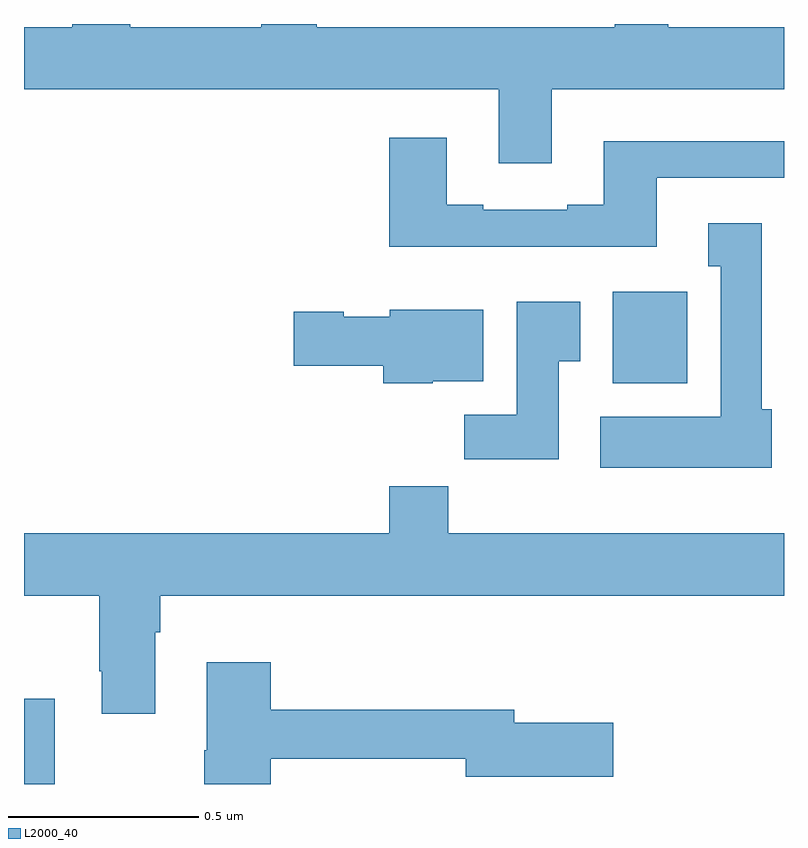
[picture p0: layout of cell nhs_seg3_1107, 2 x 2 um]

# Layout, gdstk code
import gdstk
lib = gdstk.Library(unit=1e-6, precision=1e-09)
def R(c, l, rs):  # rectangles x0, y0, x1, y1
    for r in rs: c.add(gdstk.rectangle(r[:2], r[2:], *l))
def P(c, l, *ps):  # polygons
    for p in ps: c.add(gdstk.Polygon(p, *l))
L2000_40 = (2000, 40)

nhs_seg3_1107 = lib.new_cell('nhs_seg3_1107')
R(nhs_seg3_1107, L2000_40, [(124,720.4,124.081,720.625), (125.549,721.454,125.746,721.696)])
P(nhs_seg3_1107, L2000_40, [(125.389,722.228),(126,722.228),(126,722.392),(125.695,722.392),(125.695,722.4),(125.555,722.4),(125.555,722.392),(124.771,722.392),(124.771,722.4),(124.624,722.4),(124.624,722.392),(124.279,722.392),(124.279,722.4),(124.127,722.4),(124.127,722.392),(124,722.392),(124,722.228),(125.249,722.228),(125.249,722.034),(125.389,722.034)],
  [(125.665,721.995),(126,721.995),(126,722.092),(125.525,722.092),(125.525,721.924),(125.429,721.924),(125.429,721.911),(125.209,721.911),(125.209,721.924),(125.113,721.924),(125.113,722.101),(124.961,722.101),(124.961,721.814),(125.665,721.814)],
  [(125.968,721.386),(125.941,721.386),(125.941,721.876),(125.801,721.876),(125.801,721.763),(125.834,721.763),(125.834,721.366),(125.517,721.366),(125.517,721.232),(125.968,721.232)],
  [(125.407,721.513),(125.464,721.513),(125.464,721.669),(125.297,721.669),(125.297,721.372),(125.158,721.372),(125.158,721.254),(125.407,721.254)],
  [(125.076,721.46),(125.209,721.46),(125.209,721.648),(124.962,721.648),(124.962,721.63),(124.842,721.63),(124.842,721.643),(124.71,721.643),(124.71,721.501),(124.946,721.501),(124.946,721.454),(125.076,721.454)],
  [(124.345,720.8),(124.358,720.8),(124.358,720.896),(126,720.896),(126,721.06),(125.117,721.06),(125.117,721.184),(124.961,721.184),(124.961,721.06),(124,721.06),(124,720.896),(124.198,720.896),(124.198,720.697),(124.205,720.697),(124.205,720.585),(124.345,720.585)],
  [(124.649,720.466),(125.162,720.466),(125.162,720.419),(125.551,720.419),(125.551,720.561),(125.29,720.561),(125.29,720.595),(124.649,720.595),(124.649,720.721),(124.481,720.721),(124.481,720.489),(124.474,720.489),(124.474,720.4),(124.649,720.4)])

lib.write_gds('nhs_seg3_1107.gds')
